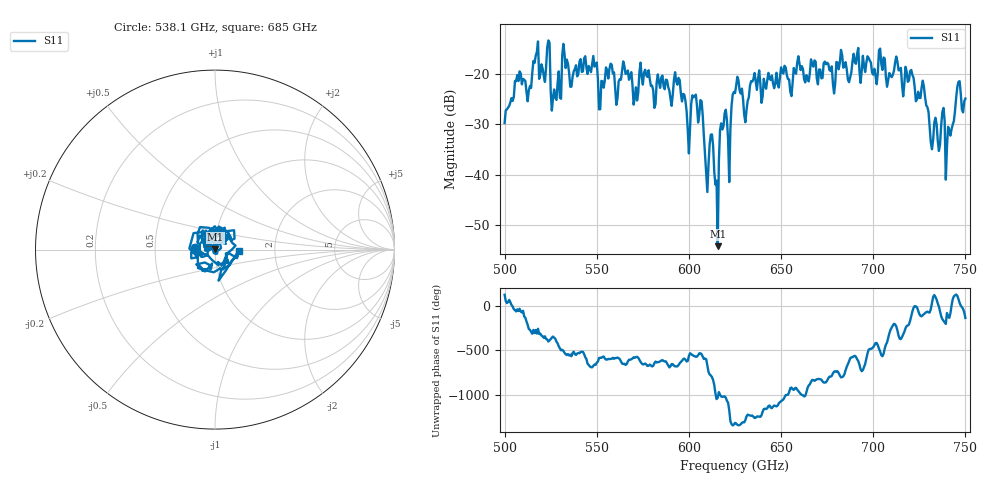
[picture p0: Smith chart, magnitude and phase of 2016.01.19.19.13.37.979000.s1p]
!Created with skrf (http://scikit-rf.org).
# GHz S RI R 50.0
!freq ReS11 ImS11
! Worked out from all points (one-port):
!   401 points, 500 GHz to 750 GHz, reference 50 ohm
!   lowest |S11| = -54.3 dB at 615.6 GHz (marker M1), VSWR 1.00, Z = 50.1 + j0.147 ohm
!   |S11| at or under -10 dB: start of sweep to end of sweep
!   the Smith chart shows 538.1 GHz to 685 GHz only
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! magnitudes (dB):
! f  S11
! 500 GHz  -29.8
! 507.5 GHz  -21.4
! 513.1 GHz  -23.3
! 516.9 GHz  -16.4
! 523.8 GHz  -13.3
! 526.9 GHz  -23.1
! 531.2 GHz  -16.3
! 562.5 GHz  -21.0
! 593.8 GHz  -22.1
! 599.4 GHz  -31.2
! 602.5 GHz  -24.6
! 606.9 GHz  -25.4
! 609.4 GHz  -39.7
! 612.5 GHz  -32.0
! 615.6 GHz  -54.3
! 618.1 GHz  -31.0
! 621.9 GHz  -41.5
! 625 GHz  -23.8
! 630.6 GHz  -29.6
! 635 GHz  -21.0
! 656.2 GHz  -21.8
! 687.5 GHz  -20.7
! 718.8 GHz  -21.5
! 727.5 GHz  -22.5
! 731.9 GHz  -35.0
! 740.6 GHz  -30.5
! 746.2 GHz  -21.5
! 750 GHz  -24.9
